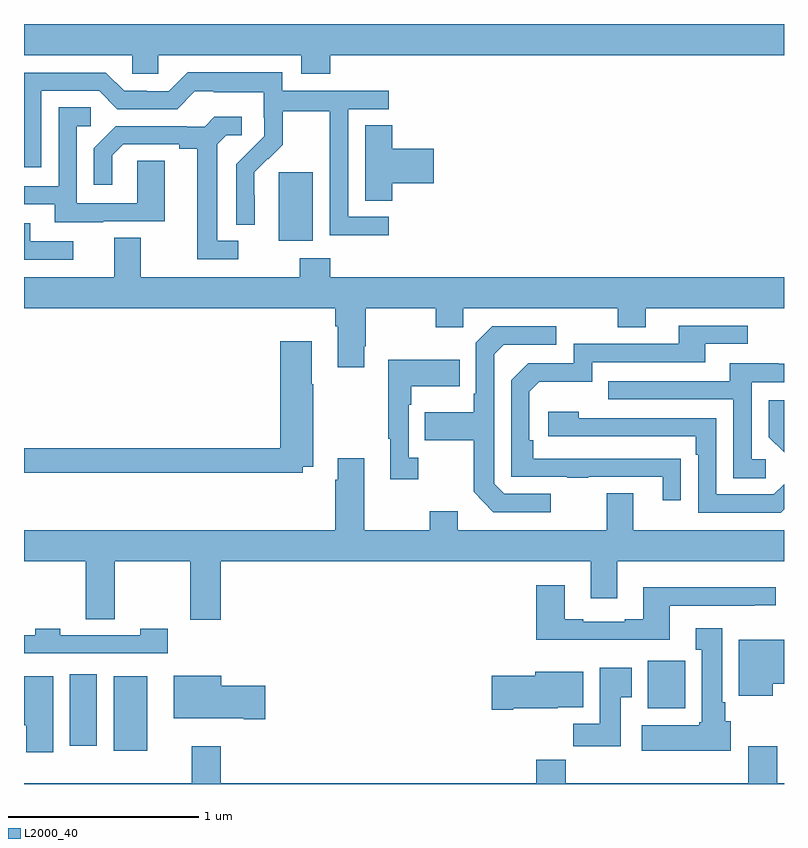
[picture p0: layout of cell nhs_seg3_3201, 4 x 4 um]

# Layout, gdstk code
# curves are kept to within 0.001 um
import gdstk
lib = gdstk.Library(unit=1e-6, precision=1e-09)
def R(c, l, rs):  # rectangles x0, y0, x1, y1
    for r in rs: c.add(gdstk.rectangle(r[:2], r[2:], *l))
def P(c, l, *ps):  # polygons
    for p in ps: c.add(gdstk.Polygon(p, *l))
L2000_40 = (2000, 40)

nhs_seg3_3201 = lib.new_cell('nhs_seg3_3201')
R(nhs_seg3_3201, L2000_40, [(277.472,710.576,277.648,710.968), (277.241,710.601,277.384,710.977), (280.283,710.798,280.479,711.049), (278.342,713.258,278.521,713.619)])
P(nhs_seg3_3201, L2000_40, [(278.612,714.236),(281,714.236),(281,714.4),(277,714.4),(277,714.236),(277.569,714.236),(277.569,714.138),(277.707,714.138),(277.707,714.236),(278.459,714.236),(278.459,714.137),(278.612,714.137)],
  [(278.92,713.385),(278.706,713.385),(278.706,713.952),(278.92,713.952),(278.92,714.048),(278.358,714.048),(278.358,714.145),(277.861,714.145),(277.761,714.045),(277.646,714.045),(277.646,714.048),(277.527,714.048),(277.431,714.144),(277,714.144),(277,713.646),(277.092,713.646),(277.092,714.048),(277.395,714.048),(277.491,713.952),(277.806,713.952),(277.899,714.045),(277.999,714.045),(277.999,714.041),(278.262,714.041),(278.262,713.907),(278.264,713.907),(278.264,713.81),(278.118,713.662),(278.118,713.344),(278.214,713.344),(278.213,713.621),(278.283,713.691),(278.286,713.688),(278.363,713.765),(278.363,713.94),(278.608,713.94),(278.608,713.716),(278.61,713.716),(278.61,713.287),(278.92,713.287)],
  [(277.417,713.361),(277.741,713.361),(277.741,713.681),(277.596,713.681),(277.596,713.457),(277.278,713.457),(277.278,713.862),(277.351,713.862),(277.351,713.963),(277.182,713.963),(277.182,713.547),(277,713.547),(277,713.451),(277.163,713.451),(277.163,713.357),(277.417,713.357)],
  [(278.128,713.259),(278.017,713.259),(278.017,713.767),(278.064,713.814),(278.146,713.814),(278.146,713.911),(278.002,713.911),(277.95,713.859),(277.856,713.859),(277.856,713.862),(277.484,713.862),(277.368,713.746),(277.368,713.553),(277.465,713.553),(277.465,713.709),(277.522,713.766),(277.817,713.766),(277.817,713.744),(277.913,713.744),(277.913,713.163),(278.128,713.163)],
  [(278.939,713.561),(279.157,713.561),(279.157,713.744),(278.939,713.744),(278.939,713.867),(278.795,713.867),(278.795,713.47),(278.939,713.47)],
  [(277.258,713.256),(277.033,713.256),(277.033,713.352),(277,713.352),(277,713.16),(277.258,713.16)],
  [(278.791,712.705),(278.799,712.705),(278.799,712.904),(279.166,712.904),(279.166,712.805),(279.312,712.805),(279.312,712.904),(280.126,712.904),(280.126,712.805),(280.273,712.805),(280.273,712.904),(281,712.904),(281,713.068),(278.612,713.068),(278.612,713.167),(278.452,713.167),(278.452,713.068),(277.615,713.068),(277.615,713.276),(277.475,713.276),(277.475,713.068),(277,713.068),(277,712.904),(278.639,712.904),(278.639,712.808),(278.651,712.808),(278.651,712.593),(278.791,712.593)],
  [(280.457,712.112),(279.68,712.113),(279.68,712.21),(279.66,712.21),(279.66,712.464),(279.713,712.517),(279.99,712.517),(279.99,712.62),(280.585,712.62),(280.585,712.716),(280.81,712.716),(280.81,712.812),(280.445,712.812),(280.445,712.716),(279.894,712.716),(279.894,712.614),(279.654,712.614),(279.564,712.524),(279.564,712.017),(279.859,712.017),(279.859,712.012),(279.971,712.012),(279.971,712.017),(280.361,712.017),(280.361,711.894),(280.457,711.894)],
  [(279.772,711.927),(279.528,711.927),(279.474,711.981),(279.474,712.662),(279.525,712.713),(279.802,712.713),(279.802,712.809),(279.465,712.809),(279.378,712.722),(279.378,712.453),(279.366,712.453),(279.366,712.357),(279.109,712.357),(279.109,712.21),(279.366,712.21),(279.366,711.937),(279.471,711.831),(279.772,711.831)],
  [(278.466,712.07),(278.523,712.07),(278.523,712.505),(278.515,712.505),(278.515,712.729),(278.348,712.729),(278.348,712.166),(277,712.166),(277,712.038),(278.466,712.038)],
  [(279.076,712.118),(279.024,712.118),(279.024,712.397),(279.037,712.397),(279.037,712.493),(279.293,712.493),(279.293,712.633),(278.916,712.633),(278.916,712.217),(278.927,712.217),(278.927,712.005),(279.076,712.005)],
  [(280.903,712.11),(280.83,712.11),(280.83,712.515),(281,712.515),(281,712.611),(280.969,712.611),(280.969,712.615),(280.715,712.615),(280.715,712.521),(280.075,712.521),(280.075,712.425),(280.734,712.425),(280.734,712.009),(280.903,712.009)],
  [(281,712.42),(280.92,712.42),(280.92,712.226),(281,712.146)],
  [(281,711.845),(281,711.977),(280.947,711.924),(280.644,711.924),(280.644,712.326),(279.92,712.326),(279.92,712.36),(279.759,712.36),(279.759,712.23),(280.535,712.23),(280.535,712.133),(280.548,712.133),(280.548,711.828),(280.983,711.828)],
  [(278.036,711.572),(279.983,711.572),(279.983,711.378),(280.123,711.378),(280.123,711.572),(281,711.572),(281,711.736),(280.207,711.736),(280.207,711.931),(280.067,711.931),(280.067,711.736),(279.283,711.736),(279.283,711.835),(279.136,711.835),(279.136,711.736),(278.791,711.736),(278.791,712.114),(278.651,712.114),(278.651,712.001),(278.639,712.001),(278.639,711.736),(277,711.736),(277,711.572),(277.324,711.572),(277.324,711.268),(277.478,711.268),(277.478,711.572),(277.876,711.572),(277.876,711.264),(278.036,711.264)],
  [(280.399,711.339),(280.847,711.339),(280.847,711.341),(280.956,711.341),(280.956,711.436),(280.259,711.436),(280.259,711.268),(280.163,711.268),(280.163,711.255),(279.943,711.255),(279.943,711.268),(279.847,711.268),(279.847,711.445),(279.695,711.445),(279.695,711.158),(280.399,711.158)],
  [(280.72,710.73),(280.69,710.73),(280.69,710.83),(280.675,710.83),(280.675,711.22),(280.535,711.22),(280.535,711.107),(280.568,711.107),(280.568,710.724),(280.555,710.724),(280.555,710.71),(280.251,710.71),(280.251,710.576),(280.72,710.576)],
  [(277.756,711.216),(277.611,711.216),(277.611,711.183),(277.191,711.183),(277.191,711.216),(277.059,711.216),(277.059,711.183),(277,711.183),(277,711.087),(277.756,711.087)],
  [(280.942,710.927),(281,710.927),(281,711.16),(280.763,711.16),(280.763,710.864),(280.942,710.864)],
  [(280.141,710.857),(280.198,710.857),(280.198,711.013),(280.031,711.013),(280.031,710.716),(279.892,710.716),(279.892,710.598),(280.141,710.598)],
  [(279.574,710.798),(279.81,710.798),(279.81,710.804),(279.943,710.804),(279.943,710.992),(279.692,710.992),(279.692,710.969),(279.462,710.969),(279.462,710.791),(279.574,710.791)],
  [(278.269,710.918),(278.038,710.918),(278.038,710.971),(277.787,710.971),(277.787,710.747),(278.156,710.747),(278.156,710.74),(278.269,710.74)],
  [(277.153,710.968),(277,710.968),(277,710.709),(277.013,710.709),(277.013,710.568),(277.153,710.568)],
  [(281,710.404),(280.964,710.404),(280.964,710.599),(280.811,710.599),(280.811,710.404),(279.851,710.404),(279.851,710.528),(279.695,710.528),(279.695,710.404),(278.036,710.404),(278.036,710.599),(277.883,710.599),(277.883,710.404),(277,710.404),(277,710.4),(281,710.4)])

lib.write_gds('nhs_seg3_3201.gds')
